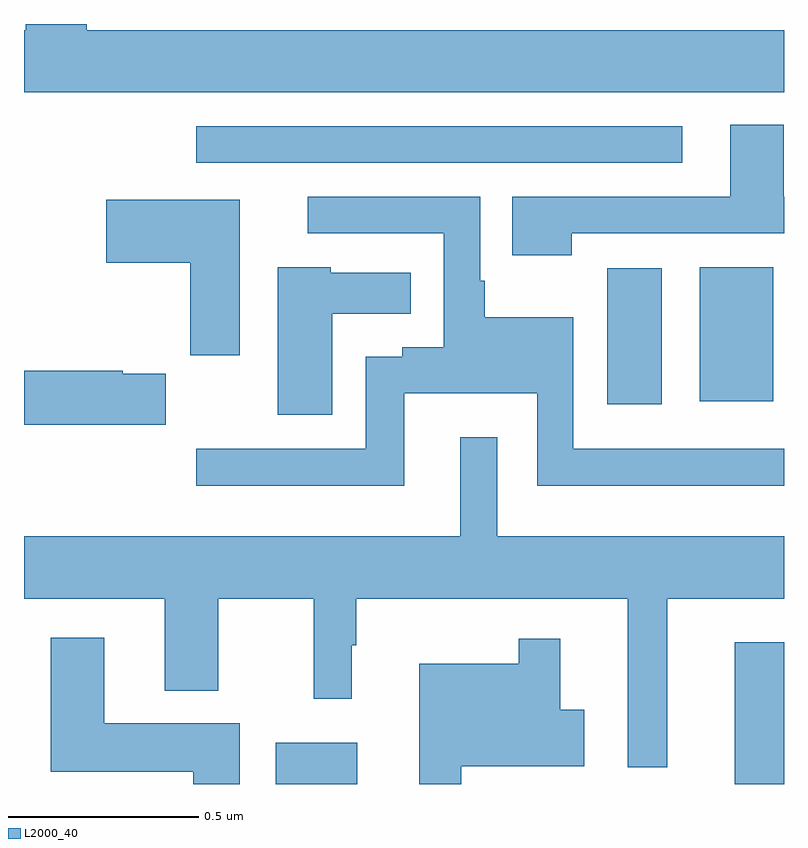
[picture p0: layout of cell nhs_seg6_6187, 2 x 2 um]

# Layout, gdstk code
import gdstk
lib = gdstk.Library(unit=1e-6, precision=1e-09)
def R(c, l, rs):  # rectangles x0, y0, x1, y1
    for r in rs: c.add(gdstk.rectangle(r[:2], r[2:], *l))
def P(c, l, *ps):  # polygons
    for p in ps: c.add(gdstk.Polygon(p, *l))
L2000_40 = (2000, 40)

nhs_seg6_6187 = lib.new_cell('nhs_seg6_6187')
R(nhs_seg6_6187, L2000_40, [(192.662,961.5,192.877,961.609), (193.871,961.5,194,961.873), (193.535,962.499,193.678,962.857), (193.778,962.507,193.972,962.86), (192.453,963.135,193.732,963.231)])
P(nhs_seg6_6187, L2000_40, [(194,963.484),(192.165,963.484),(192.165,963.5),(192.005,963.5),(192.005,963.484),(192,963.484),(192,963.32),(194,963.32)],
  [(193.442,962.949),(194,962.949),(194,963.045),(193.999,963.045),(193.999,963.235),(193.859,963.235),(193.859,963.045),(193.285,963.045),(193.285,962.892),(193.442,962.892)],
  [(193,962.528),(193.35,962.528),(193.35,962.285),(194,962.285),(194,962.382),(193.446,962.382),(193.446,962.728),(193.213,962.728),(193.213,962.824),(193.2,962.824),(193.2,963.045),(192.747,963.045),(192.747,962.949),(193.104,962.949),(193.104,962.65),(192.996,962.65),(192.996,962.625),(192.899,962.625),(192.899,962.382),(192.453,962.382),(192.453,962.285),(193,962.285)],
  [(192.568,963.037),(192.216,963.037),(192.216,962.872),(192.438,962.872),(192.438,962.628),(192.568,962.628)],
  [(192.811,962.738),(193.018,962.738),(193.018,962.845),(192.807,962.845),(192.807,962.86),(192.668,962.86),(192.668,962.472),(192.811,962.472)],
  [(192.373,962.58),(192.26,962.58),(192.26,962.588),(192,962.588),(192,962.446),(192.373,962.446)],
  [(193.693,961.988),(194,961.988),(194,962.152),(193.245,962.152),(193.245,962.413),(193.148,962.413),(193.148,962.152),(192,962.152),(192,961.988),(192.371,961.988),(192.371,961.745),(192.511,961.745),(192.511,961.988),(192.763,961.988),(192.763,961.725),(192.862,961.725),(192.862,961.865),(192.874,961.865),(192.874,961.988),(193.589,961.988),(193.589,961.544),(193.693,961.544)],
  [(192.568,961.66),(192.211,961.66),(192.211,961.885),(192.071,961.885),(192.071,961.532),(192.446,961.532),(192.446,961.5),(192.568,961.5)],
  [(193.15,961.547),(193.474,961.547),(193.474,961.695),(193.411,961.695),(193.411,961.882),(193.302,961.882),(193.302,961.816),(193.04,961.816),(193.04,961.5),(193.15,961.5)])

lib.write_gds('nhs_seg6_6187.gds')
